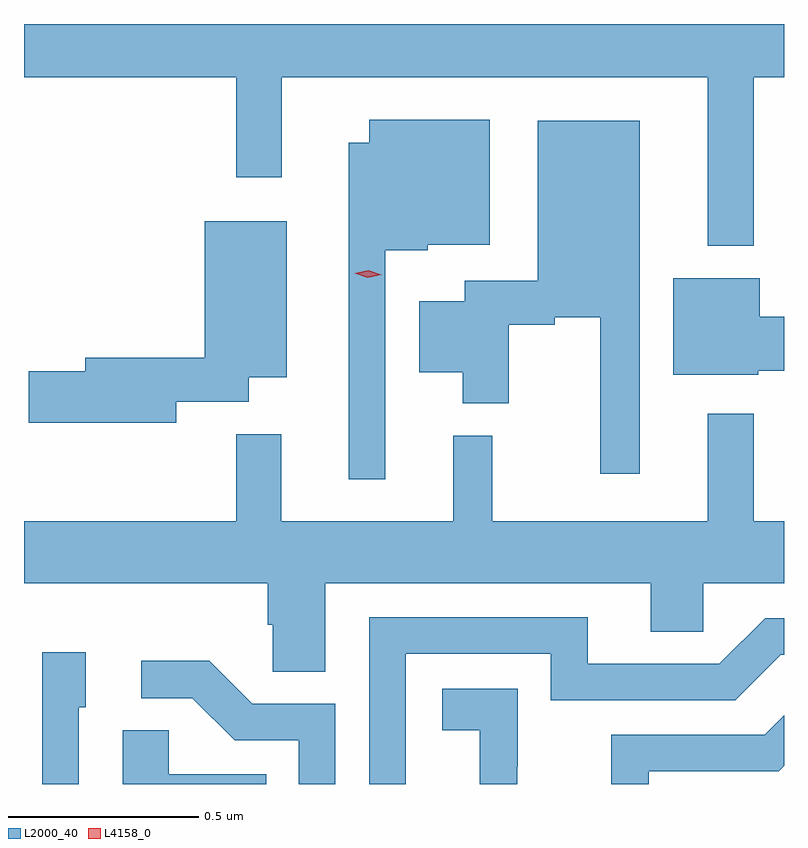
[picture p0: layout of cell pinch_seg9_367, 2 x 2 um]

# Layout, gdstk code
import gdstk
lib = gdstk.Library(unit=1e-6, precision=1e-09)
def P(c, l, *ps):  # polygons
    for p in ps: c.add(gdstk.Polygon(p, *l))
L2000_40 = (2000, 40)
L4158_0 = (4158, 0)

pinch_seg9_367 = lib.new_cell('pinch_seg9_367')
P(pinch_seg9_367, L2000_40, [(552.193,1167.116),(552.272,1167.116),(552.272,1167.256),(550.272,1167.256),(550.272,1167.116),(550.831,1167.116),(550.831,1166.853),(550.95,1166.853),(550.95,1167.116),(552.071,1167.116),(552.071,1166.672),(552.193,1166.672)],
  [(551.223,1166.66),(551.334,1166.66),(551.334,1166.675),(551.497,1166.675),(551.497,1167.004),(551.18,1167.004),(551.18,1166.944),(551.126,1166.944),(551.126,1166.058),(551.223,1166.058)],
  [(551.893,1167.001),(551.624,1167.001),(551.624,1166.58),(551.432,1166.58),(551.432,1166.527),(551.312,1166.527),(551.312,1166.339),(551.426,1166.339),(551.426,1166.258),(551.548,1166.258),(551.548,1166.464),(551.669,1166.464),(551.669,1166.484),(551.789,1166.484),(551.789,1166.073),(551.893,1166.073)],
  [(550.672,1166.262),(550.864,1166.262),(550.864,1166.327),(550.963,1166.327),(550.963,1166.737),(550.748,1166.737),(550.748,1166.378),(550.433,1166.378),(550.433,1166.342),(550.284,1166.342),(550.284,1166.207),(550.672,1166.207)],
  [(552.204,1166.344),(552.272,1166.344),(552.272,1166.486),(552.208,1166.486),(552.208,1166.587),(551.981,1166.587),(551.981,1166.333),(552.204,1166.333)],
  [(551.065,1165.784),(551.921,1165.784),(551.921,1165.657),(552.06,1165.657),(552.06,1165.784),(552.272,1165.784),(552.272,1165.948),(552.193,1165.948),(552.193,1166.23),(552.071,1166.23),(552.071,1165.948),(551.504,1165.948),(551.504,1166.173),(551.402,1166.173),(551.402,1165.948),(550.949,1165.948),(550.949,1166.177),(550.831,1166.177),(550.831,1165.948),(550.272,1165.948),(550.272,1165.784),(550.913,1165.784),(550.913,1165.675),(550.926,1165.675),(550.926,1165.552),(551.065,1165.552)],
  [(551.277,1165.599),(551.658,1165.599),(551.658,1165.476),(552.144,1165.476),(552.264,1165.596),(552.272,1165.596),(552.272,1165.692),(552.222,1165.692),(552.102,1165.572),(551.755,1165.572),(551.755,1165.695),(551.181,1165.695),(551.181,1165.256),(551.277,1165.256)],
  [(550.416,1165.458),(550.435,1165.458),(550.435,1165.603),(550.32,1165.603),(550.32,1165.256),(550.416,1165.256)],
  [(551.091,1165.467),(550.872,1165.467),(550.759,1165.58),(550.581,1165.58),(550.581,1165.482),(550.715,1165.482),(550.826,1165.371),(550.995,1165.371),(550.995,1165.256),(551.091,1165.256)],
  [(551.57,1165.301),(551.571,1165.301),(551.571,1165.507),(551.373,1165.507),(551.373,1165.397),(551.471,1165.397),(551.471,1165.256),(551.57,1165.256)],
  [(551.916,1165.29),(552.258,1165.29),(552.272,1165.304),(552.272,1165.437),(552.221,1165.386),(551.818,1165.386),(551.818,1165.256),(551.916,1165.256)],
  [(550.91,1165.282),(550.653,1165.282),(550.653,1165.397),(550.532,1165.397),(550.532,1165.256),(550.91,1165.256)])
P(pinch_seg9_367, L4158_0, [(551.176,1166.588),(551.142,1166.6),(551.141,1166.6),(551.142,1166.6),(551.178,1166.608),(551.212,1166.596),(551.213,1166.596),(551.212,1166.596)])

lib.write_gds('pinch_seg9_367.gds')
